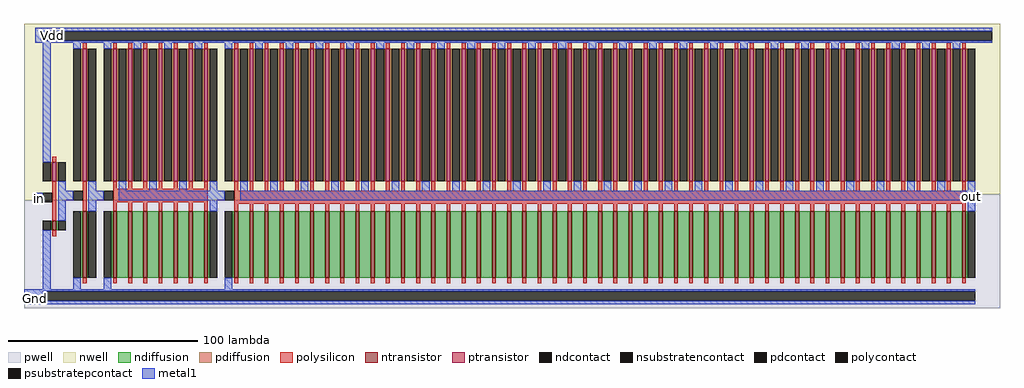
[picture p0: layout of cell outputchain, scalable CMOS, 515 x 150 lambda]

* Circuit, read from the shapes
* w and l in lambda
.subckt outputchain Gnd Vdd in out
M1 n1 in Gnd Gnd nfet w=5 l=2
M2 n2 n1 Gnd Gnd nfet w=35 l=2
M3 n3 n2 Gnd Gnd nfet w=35 l=2
M4 n4 n2 n3 Gnd nfet w=35 l=2
M5 n5 n2 n4 Gnd nfet w=35 l=2
M6 n6 n2 n5 Gnd nfet w=35 l=2
M7 n7 n2 n6 Gnd nfet w=35 l=2
M8 n8 n2 n7 Gnd nfet w=35 l=2
M9 n9 n2 n8 Gnd nfet w=35 l=2
M10 n10 n9 Gnd Gnd nfet w=35 l=2
M11 n11 n9 n10 Gnd nfet w=35 l=2
M12 n12 n9 n11 Gnd nfet w=35 l=2
M13 n13 n9 n12 Gnd nfet w=35 l=2
M14 n14 n9 n13 Gnd nfet w=35 l=2
M15 n15 n9 n14 Gnd nfet w=35 l=2
M16 n16 n9 n15 Gnd nfet w=35 l=2
M17 n17 n9 n16 Gnd nfet w=35 l=2
M18 n18 n9 n17 Gnd nfet w=35 l=2
M19 n19 n9 n18 Gnd nfet w=35 l=2
M20 n20 n9 n19 Gnd nfet w=35 l=2
M21 n21 n9 n20 Gnd nfet w=35 l=2
M22 n22 n9 n21 Gnd nfet w=35 l=2
M23 n23 n9 n22 Gnd nfet w=35 l=2
M24 n24 n9 n23 Gnd nfet w=35 l=2
M25 n25 n9 n24 Gnd nfet w=35 l=2
M26 n26 n9 n25 Gnd nfet w=35 l=2
M27 n27 n9 n26 Gnd nfet w=35 l=2
M28 n28 n9 n27 Gnd nfet w=35 l=2
M29 n29 n9 n28 Gnd nfet w=35 l=2
M30 n30 n9 n29 Gnd nfet w=35 l=2
M31 n31 n9 n30 Gnd nfet w=35 l=2
M32 n32 n9 n31 Gnd nfet w=35 l=2
M33 n33 n9 n32 Gnd nfet w=35 l=2
M34 n34 n9 n33 Gnd nfet w=35 l=2
M35 n35 n9 n34 Gnd nfet w=35 l=2
M36 n36 n9 n35 Gnd nfet w=35 l=2
M37 n37 n9 n36 Gnd nfet w=35 l=2
M38 n38 n9 n37 Gnd nfet w=35 l=2
M39 n39 n9 n38 Gnd nfet w=35 l=2
M40 n40 n9 n39 Gnd nfet w=35 l=2
M41 n41 n9 n40 Gnd nfet w=35 l=2
M42 n42 n9 n41 Gnd nfet w=35 l=2
M43 n43 n9 n42 Gnd nfet w=35 l=2
M44 n44 n9 n43 Gnd nfet w=35 l=2
M45 n45 n9 n44 Gnd nfet w=35 l=2
M46 n46 n9 n45 Gnd nfet w=35 l=2
M47 n47 n9 n46 Gnd nfet w=35 l=2
M48 n48 n9 n47 Gnd nfet w=35 l=2
M49 n49 n9 n48 Gnd nfet w=35 l=2
M50 n50 n9 n49 Gnd nfet w=35 l=2
M51 n51 n9 n50 Gnd nfet w=35 l=2
M52 n52 n9 n51 Gnd nfet w=35 l=2
M53 n53 n9 n52 Gnd nfet w=35 l=2
M54 n54 n9 n53 Gnd nfet w=35 l=2
M55 n55 n9 n54 Gnd nfet w=35 l=2
M56 n56 n9 n55 Gnd nfet w=35 l=2
M57 n57 n9 n56 Gnd nfet w=35 l=2
M58 out n9 n57 Gnd nfet w=35 l=2
M59 n1 in Vdd Vdd pfet w=10 l=2
M60 n2 n1 Vdd Vdd pfet w=70 l=2
M61 n9 n2 Vdd Vdd pfet w=70 l=2 m=7
M62 out n9 Vdd Vdd pfet w=70 l=2 m=49
.ends

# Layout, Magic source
magic
tech scmos
<< nwell >>
rect -50 -59 465 31
rect -50 -62 452 -59
<< pwell >>
rect 452 -62 465 -59
rect -50 -119 465 -62
<< ntransistor >>
rect -35 -78 -33 -73
rect -19 -103 -17 -68
rect -3 -103 -1 -68
rect 5 -103 7 -68
rect 13 -103 15 -68
rect 21 -103 23 -68
rect 29 -103 31 -68
rect 37 -103 39 -68
rect 45 -103 47 -68
rect 61 -103 63 -68
rect 69 -103 71 -68
rect 77 -103 79 -68
rect 85 -103 87 -68
rect 93 -103 95 -68
rect 101 -103 103 -68
rect 109 -103 111 -68
rect 117 -103 119 -68
rect 125 -103 127 -68
rect 133 -103 135 -68
rect 141 -103 143 -68
rect 149 -103 151 -68
rect 157 -103 159 -68
rect 165 -103 167 -68
rect 173 -103 175 -68
rect 181 -103 183 -68
rect 189 -103 191 -68
rect 197 -103 199 -68
rect 205 -103 207 -68
rect 213 -103 215 -68
rect 221 -103 223 -68
rect 229 -103 231 -68
rect 237 -103 239 -68
rect 245 -103 247 -68
rect 253 -103 255 -68
rect 261 -103 263 -68
rect 269 -103 271 -68
rect 277 -103 279 -68
rect 285 -103 287 -68
rect 293 -103 295 -68
rect 301 -103 303 -68
rect 309 -103 311 -68
rect 317 -103 319 -68
rect 325 -103 327 -68
rect 333 -103 335 -68
rect 341 -103 343 -68
rect 349 -103 351 -68
rect 357 -103 359 -68
rect 365 -103 367 -68
rect 373 -103 375 -68
rect 381 -103 383 -68
rect 389 -103 391 -68
rect 397 -103 399 -68
rect 405 -103 407 -68
rect 413 -103 415 -68
rect 421 -103 423 -68
rect 429 -103 431 -68
rect 437 -103 439 -68
rect 445 -103 447 -68
<< ptransistor >>
rect -35 -52 -33 -42
rect -19 -52 -17 18
rect -3 -52 -1 18
rect 5 -52 7 18
rect 13 -52 15 18
rect 21 -52 23 18
rect 29 -52 31 18
rect 37 -52 39 18
rect 45 -52 47 18
rect 61 -52 63 18
rect 69 -52 71 18
rect 77 -52 79 18
rect 85 -52 87 18
rect 93 -52 95 18
rect 101 -52 103 18
rect 109 -52 111 18
rect 117 -52 119 18
rect 125 -52 127 18
rect 133 -52 135 18
rect 141 -52 143 18
rect 149 -52 151 18
rect 157 -52 159 18
rect 165 -52 167 18
rect 173 -52 175 18
rect 181 -52 183 18
rect 189 -52 191 18
rect 197 -52 199 18
rect 205 -52 207 18
rect 213 -52 215 18
rect 221 -52 223 18
rect 229 -52 231 18
rect 237 -52 239 18
rect 245 -52 247 18
rect 253 -52 255 18
rect 261 -52 263 18
rect 269 -52 271 18
rect 277 -52 279 18
rect 285 -52 287 18
rect 293 -52 295 18
rect 301 -52 303 18
rect 309 -52 311 18
rect 317 -52 319 18
rect 325 -52 327 18
rect 333 -52 335 18
rect 341 -52 343 18
rect 349 -52 351 18
rect 357 -52 359 18
rect 365 -52 367 18
rect 373 -52 375 18
rect 381 -52 383 18
rect 389 -52 391 18
rect 397 -52 399 18
rect 405 -52 407 18
rect 413 -52 415 18
rect 421 -52 423 18
rect 429 -52 431 18
rect 437 -52 439 18
rect 445 -52 447 18
<< ndiffusion >>
rect -36 -78 -35 -73
rect -33 -78 -32 -73
rect -20 -103 -19 -68
rect -17 -103 -16 -68
rect -4 -103 -3 -68
rect -1 -103 5 -68
rect 7 -103 13 -68
rect 15 -103 21 -68
rect 23 -103 29 -68
rect 31 -103 37 -68
rect 39 -103 45 -68
rect 47 -103 48 -68
rect 60 -103 61 -68
rect 63 -103 69 -68
rect 71 -103 77 -68
rect 79 -103 85 -68
rect 87 -103 93 -68
rect 95 -103 101 -68
rect 103 -103 109 -68
rect 111 -103 117 -68
rect 119 -103 125 -68
rect 127 -103 133 -68
rect 135 -103 141 -68
rect 143 -103 149 -68
rect 151 -103 157 -68
rect 159 -103 165 -68
rect 167 -103 173 -68
rect 175 -103 181 -68
rect 183 -103 189 -68
rect 191 -103 197 -68
rect 199 -103 205 -68
rect 207 -103 213 -68
rect 215 -103 221 -68
rect 223 -103 229 -68
rect 231 -103 237 -68
rect 239 -103 245 -68
rect 247 -103 253 -68
rect 255 -103 261 -68
rect 263 -103 269 -68
rect 271 -103 277 -68
rect 279 -103 285 -68
rect 287 -103 293 -68
rect 295 -103 301 -68
rect 303 -103 309 -68
rect 311 -103 317 -68
rect 319 -103 325 -68
rect 327 -103 333 -68
rect 335 -103 341 -68
rect 343 -103 349 -68
rect 351 -103 357 -68
rect 359 -103 365 -68
rect 367 -103 373 -68
rect 375 -103 381 -68
rect 383 -103 389 -68
rect 391 -103 397 -68
rect 399 -103 405 -68
rect 407 -103 413 -68
rect 415 -103 421 -68
rect 423 -103 429 -68
rect 431 -103 437 -68
rect 439 -103 445 -68
rect 447 -103 448 -68
<< pdiffusion >>
rect -36 -52 -35 -42
rect -33 -52 -32 -42
rect -20 -52 -19 18
rect -17 -52 -16 18
rect -4 -52 -3 18
rect -1 -52 0 18
rect 4 -52 5 18
rect 7 -52 8 18
rect 12 -52 13 18
rect 15 -52 16 18
rect 20 -52 21 18
rect 23 -52 24 18
rect 28 -52 29 18
rect 31 -52 32 18
rect 36 -52 37 18
rect 39 -52 40 18
rect 44 -52 45 18
rect 47 -52 48 18
rect 60 -52 61 18
rect 63 -52 64 18
rect 68 -52 69 18
rect 71 -52 72 18
rect 76 -52 77 18
rect 79 -52 80 18
rect 84 -52 85 18
rect 87 -52 88 18
rect 92 -52 93 18
rect 95 -52 96 18
rect 100 -52 101 18
rect 103 -52 104 18
rect 108 -52 109 18
rect 111 -52 112 18
rect 116 -52 117 18
rect 119 -52 120 18
rect 124 -52 125 18
rect 127 -52 128 18
rect 132 -52 133 18
rect 135 -52 136 18
rect 140 -52 141 18
rect 143 -52 144 18
rect 148 -52 149 18
rect 151 -52 152 18
rect 156 -52 157 18
rect 159 -52 160 18
rect 164 -52 165 18
rect 167 -52 168 18
rect 172 -52 173 18
rect 175 -52 176 18
rect 180 -52 181 18
rect 183 -52 184 18
rect 188 -52 189 18
rect 191 -52 192 18
rect 196 -52 197 18
rect 199 -52 200 18
rect 204 -52 205 18
rect 207 -52 208 18
rect 212 -52 213 18
rect 215 -52 216 18
rect 220 -52 221 18
rect 223 -52 224 18
rect 228 -52 229 18
rect 231 -52 232 18
rect 236 -52 237 18
rect 239 -52 240 18
rect 244 -52 245 18
rect 247 -52 248 18
rect 252 -52 253 18
rect 255 -52 256 18
rect 260 -52 261 18
rect 263 -52 264 18
rect 268 -52 269 18
rect 271 -52 272 18
rect 276 -52 277 18
rect 279 -52 280 18
rect 284 -52 285 18
rect 287 -52 288 18
rect 292 -52 293 18
rect 295 -52 296 18
rect 300 -52 301 18
rect 303 -52 304 18
rect 308 -52 309 18
rect 311 -52 312 18
rect 316 -52 317 18
rect 319 -52 320 18
rect 324 -52 325 18
rect 327 -52 328 18
rect 332 -52 333 18
rect 335 -52 336 18
rect 340 -52 341 18
rect 343 -52 344 18
rect 348 -52 349 18
rect 351 -52 352 18
rect 356 -52 357 18
rect 359 -52 360 18
rect 364 -52 365 18
rect 367 -52 368 18
rect 372 -52 373 18
rect 375 -52 376 18
rect 380 -52 381 18
rect 383 -52 384 18
rect 388 -52 389 18
rect 391 -52 392 18
rect 396 -52 397 18
rect 399 -52 400 18
rect 404 -52 405 18
rect 407 -52 408 18
rect 412 -52 413 18
rect 415 -52 416 18
rect 420 -52 421 18
rect 423 -52 424 18
rect 428 -52 429 18
rect 431 -52 432 18
rect 436 -52 437 18
rect 439 -52 440 18
rect 444 -52 445 18
rect 447 -52 448 18
<< ndcontact >>
rect -40 -78 -36 -73
rect -32 -78 -28 -73
rect -24 -103 -20 -68
rect -16 -103 -12 -68
rect -8 -103 -4 -68
rect 48 -103 52 -68
rect 56 -103 60 -68
rect 448 -103 452 -68
<< pdcontact >>
rect -40 -52 -36 -42
rect -32 -52 -28 -42
rect -24 -52 -20 18
rect -16 -52 -12 18
rect -8 -52 -4 18
rect 0 -52 4 18
rect 8 -52 12 18
rect 16 -52 20 18
rect 24 -52 28 18
rect 32 -52 36 18
rect 40 -52 44 18
rect 48 -52 52 18
rect 56 -52 60 18
rect 64 -52 68 18
rect 72 -52 76 18
rect 80 -52 84 18
rect 88 -52 92 18
rect 96 -52 100 18
rect 104 -52 108 18
rect 112 -52 116 18
rect 120 -52 124 18
rect 128 -52 132 18
rect 136 -52 140 18
rect 144 -52 148 18
rect 152 -52 156 18
rect 160 -52 164 18
rect 168 -52 172 18
rect 176 -52 180 18
rect 184 -52 188 18
rect 192 -52 196 18
rect 200 -52 204 18
rect 208 -52 212 18
rect 216 -52 220 18
rect 224 -52 228 18
rect 232 -52 236 18
rect 240 -52 244 18
rect 248 -52 252 18
rect 256 -52 260 18
rect 264 -52 268 18
rect 272 -52 276 18
rect 280 -52 284 18
rect 288 -52 292 18
rect 296 -52 300 18
rect 304 -52 308 18
rect 312 -52 316 18
rect 320 -52 324 18
rect 328 -52 332 18
rect 336 -52 340 18
rect 344 -52 348 18
rect 352 -52 356 18
rect 360 -52 364 18
rect 368 -52 372 18
rect 376 -52 380 18
rect 384 -52 388 18
rect 392 -52 396 18
rect 400 -52 404 18
rect 408 -52 412 18
rect 416 -52 420 18
rect 424 -52 428 18
rect 432 -52 436 18
rect 440 -52 444 18
rect 448 -52 452 18
<< psubstratepcontact >>
rect -40 -115 452 -110
<< nsubstratencontact >>
rect -41 22 461 27
<< polysilicon >>
rect -19 18 -17 21
rect -3 18 -1 21
rect 5 18 7 21
rect 13 18 15 21
rect 21 18 23 21
rect 29 18 31 21
rect 37 18 39 21
rect 45 18 47 21
rect 61 18 63 21
rect 69 18 71 21
rect 77 18 79 21
rect 85 18 87 21
rect 93 18 95 21
rect 101 18 103 21
rect 109 18 111 21
rect 117 18 119 21
rect 125 18 127 21
rect 133 18 135 21
rect 141 18 143 21
rect 149 18 151 21
rect 157 18 159 21
rect 165 18 167 21
rect 173 18 175 21
rect 181 18 183 21
rect 189 18 191 21
rect 197 18 199 21
rect 205 18 207 21
rect 213 18 215 21
rect 221 18 223 21
rect 229 18 231 21
rect 237 18 239 21
rect 245 18 247 21
rect 253 18 255 21
rect 261 18 263 21
rect 269 18 271 21
rect 277 18 279 21
rect 285 18 287 21
rect 293 18 295 21
rect 301 18 303 21
rect 309 18 311 21
rect 317 18 319 21
rect 325 18 327 21
rect 333 18 335 21
rect 341 18 343 21
rect 349 18 351 21
rect 357 18 359 21
rect 365 18 367 21
rect 373 18 375 21
rect 381 18 383 21
rect 389 18 391 21
rect 397 18 399 21
rect 405 18 407 21
rect 413 18 415 21
rect 421 18 423 21
rect 429 18 431 21
rect 437 18 439 21
rect 445 18 447 21
rect -35 -42 -33 -39
rect -35 -73 -33 -52
rect -19 -68 -17 -52
rect -3 -56 -1 -52
rect 5 -56 7 -52
rect 13 -56 15 -52
rect 21 -56 23 -52
rect 29 -56 31 -52
rect 37 -56 39 -52
rect 45 -56 47 -52
rect -3 -63 47 -56
rect 61 -57 63 -52
rect 69 -57 71 -52
rect 77 -57 79 -52
rect 85 -57 87 -52
rect 93 -57 95 -52
rect 101 -57 103 -52
rect 109 -57 111 -52
rect 117 -57 119 -52
rect 125 -57 127 -52
rect 133 -57 135 -52
rect 141 -57 143 -52
rect 149 -57 151 -52
rect 157 -57 159 -52
rect 165 -57 167 -52
rect 173 -57 175 -52
rect 181 -57 183 -52
rect 189 -57 191 -52
rect 197 -57 199 -52
rect 205 -57 207 -52
rect 213 -57 215 -52
rect 221 -57 223 -52
rect 229 -57 231 -52
rect 237 -57 239 -52
rect 245 -57 247 -52
rect 253 -57 255 -52
rect 261 -57 263 -52
rect 269 -57 271 -52
rect 277 -57 279 -52
rect 285 -57 287 -52
rect 293 -57 295 -52
rect 301 -57 303 -52
rect 309 -57 311 -52
rect 317 -57 319 -52
rect 325 -57 327 -52
rect 333 -57 335 -52
rect 341 -57 343 -52
rect 349 -57 351 -52
rect 357 -57 359 -52
rect 365 -57 367 -52
rect 373 -57 375 -52
rect 381 -57 383 -52
rect 389 -57 391 -52
rect 397 -57 399 -52
rect 405 -57 407 -52
rect 413 -57 415 -52
rect 421 -57 423 -52
rect 429 -57 431 -52
rect 437 -57 439 -52
rect 445 -57 447 -52
rect -3 -68 -1 -63
rect 5 -68 7 -63
rect 13 -68 15 -63
rect 21 -68 23 -63
rect 29 -68 31 -63
rect 37 -68 39 -63
rect 45 -68 47 -63
rect 61 -64 447 -57
rect 61 -68 63 -64
rect 69 -68 71 -64
rect 77 -68 79 -64
rect 85 -68 87 -64
rect 93 -68 95 -64
rect 101 -68 103 -64
rect 109 -68 111 -64
rect 117 -68 119 -64
rect 125 -68 127 -64
rect 133 -68 135 -64
rect 141 -68 143 -64
rect 149 -68 151 -64
rect 157 -68 159 -64
rect 165 -68 167 -64
rect 173 -68 175 -64
rect 181 -68 183 -64
rect 189 -68 191 -64
rect 197 -68 199 -64
rect 205 -68 207 -64
rect 213 -68 215 -64
rect 221 -68 223 -64
rect 229 -68 231 -64
rect 237 -68 239 -64
rect 245 -68 247 -64
rect 253 -68 255 -64
rect 261 -68 263 -64
rect 269 -68 271 -64
rect 277 -68 279 -64
rect 285 -68 287 -64
rect 293 -68 295 -64
rect 301 -68 303 -64
rect 309 -68 311 -64
rect 317 -68 319 -64
rect 325 -68 327 -64
rect 333 -68 335 -64
rect 341 -68 343 -64
rect 349 -68 351 -64
rect 357 -68 359 -64
rect 365 -68 367 -64
rect 373 -68 375 -64
rect 381 -68 383 -64
rect 389 -68 391 -64
rect 397 -68 399 -64
rect 405 -68 407 -64
rect 413 -68 415 -64
rect 421 -68 423 -64
rect 429 -68 431 -64
rect 437 -68 439 -64
rect 445 -68 447 -64
rect -35 -81 -33 -78
rect -19 -106 -17 -103
rect -3 -106 -1 -103
rect 5 -106 7 -103
rect 13 -106 15 -103
rect 21 -106 23 -103
rect 29 -106 31 -103
rect 37 -106 39 -103
rect 45 -106 47 -103
rect 61 -106 63 -103
rect 69 -106 71 -103
rect 77 -106 79 -103
rect 85 -106 87 -103
rect 93 -106 95 -103
rect 101 -106 103 -103
rect 109 -106 111 -103
rect 117 -106 119 -103
rect 125 -106 127 -103
rect 133 -106 135 -103
rect 141 -106 143 -103
rect 149 -106 151 -103
rect 157 -106 159 -103
rect 165 -106 167 -103
rect 173 -106 175 -103
rect 181 -106 183 -103
rect 189 -106 191 -103
rect 197 -106 199 -103
rect 205 -106 207 -103
rect 213 -106 215 -103
rect 221 -106 223 -103
rect 229 -106 231 -103
rect 237 -106 239 -103
rect 245 -106 247 -103
rect 253 -106 255 -103
rect 261 -106 263 -103
rect 269 -106 271 -103
rect 277 -106 279 -103
rect 285 -106 287 -103
rect 293 -106 295 -103
rect 301 -106 303 -103
rect 309 -106 311 -103
rect 317 -106 319 -103
rect 325 -106 327 -103
rect 333 -106 335 -103
rect 341 -106 343 -103
rect 349 -106 351 -103
rect 357 -106 359 -103
rect 365 -106 367 -103
rect 373 -106 375 -103
rect 381 -106 383 -103
rect 389 -106 391 -103
rect 397 -106 399 -103
rect 405 -106 407 -103
rect 413 -106 415 -103
rect 421 -106 423 -103
rect 429 -106 431 -103
rect 437 -106 439 -103
rect 445 -106 447 -103
<< polycontact >>
rect -40 -63 -35 -58
rect -24 -62 -19 -57
rect -8 -62 -3 -57
rect 56 -62 61 -57
<< metal1 >>
rect -44 27 461 29
rect -44 22 -41 27
rect -44 21 461 22
rect -40 -42 -36 21
rect -24 18 -20 21
rect -8 18 -4 21
rect 8 18 12 21
rect 24 18 28 21
rect 40 18 44 21
rect 56 18 60 21
rect 72 18 76 21
rect 88 18 92 21
rect 104 18 108 21
rect 120 18 124 21
rect 136 18 140 21
rect 152 18 156 21
rect 168 18 172 21
rect 184 18 188 21
rect 200 18 204 21
rect 216 18 220 21
rect 232 18 236 21
rect 248 18 252 21
rect 264 18 268 21
rect 280 18 284 21
rect 296 18 300 21
rect 312 18 316 21
rect 328 18 332 21
rect 344 18 348 21
rect 360 18 364 21
rect 376 18 380 21
rect 392 18 396 21
rect 408 18 412 21
rect 424 18 428 21
rect 440 18 444 21
rect -32 -57 -28 -52
rect -16 -57 -12 -52
rect 0 -57 4 -52
rect 16 -57 20 -52
rect 32 -57 36 -52
rect 48 -57 52 -52
rect 64 -57 68 -52
rect 80 -57 84 -52
rect 96 -57 100 -52
rect 112 -57 116 -52
rect 128 -57 132 -52
rect 144 -57 148 -52
rect 160 -57 164 -52
rect 176 -57 180 -52
rect 192 -57 196 -52
rect 208 -57 212 -52
rect 224 -57 228 -52
rect 240 -57 244 -52
rect 256 -57 260 -52
rect 272 -57 276 -52
rect 288 -57 292 -52
rect 304 -57 308 -52
rect 320 -57 324 -52
rect 336 -57 340 -52
rect 352 -57 356 -52
rect 368 -57 372 -52
rect 384 -57 388 -52
rect 400 -57 404 -52
rect 416 -57 420 -52
rect 432 -57 436 -52
rect 448 -57 452 -52
rect -44 -63 -40 -58
rect -32 -62 -24 -57
rect -16 -62 -8 -57
rect 0 -62 56 -57
rect 64 -62 452 -57
rect -32 -73 -28 -62
rect -16 -68 -12 -62
rect 48 -68 52 -62
rect 448 -68 452 -62
rect -40 -109 -36 -78
rect -24 -109 -20 -103
rect -8 -109 -4 -103
rect 56 -109 60 -103
rect -50 -110 452 -109
rect -50 -115 -40 -110
rect -50 -117 452 -115
<< labels >>
rlabel metal1 450 -60 450 -60 1 out
rlabel metal1 -42 -61 -42 -61 1 in
rlabel nsubstratencontact -35 25 -35 25 1 Vdd
rlabel metal1 -44 -114 -44 -114 1 Gnd
<< end >>
